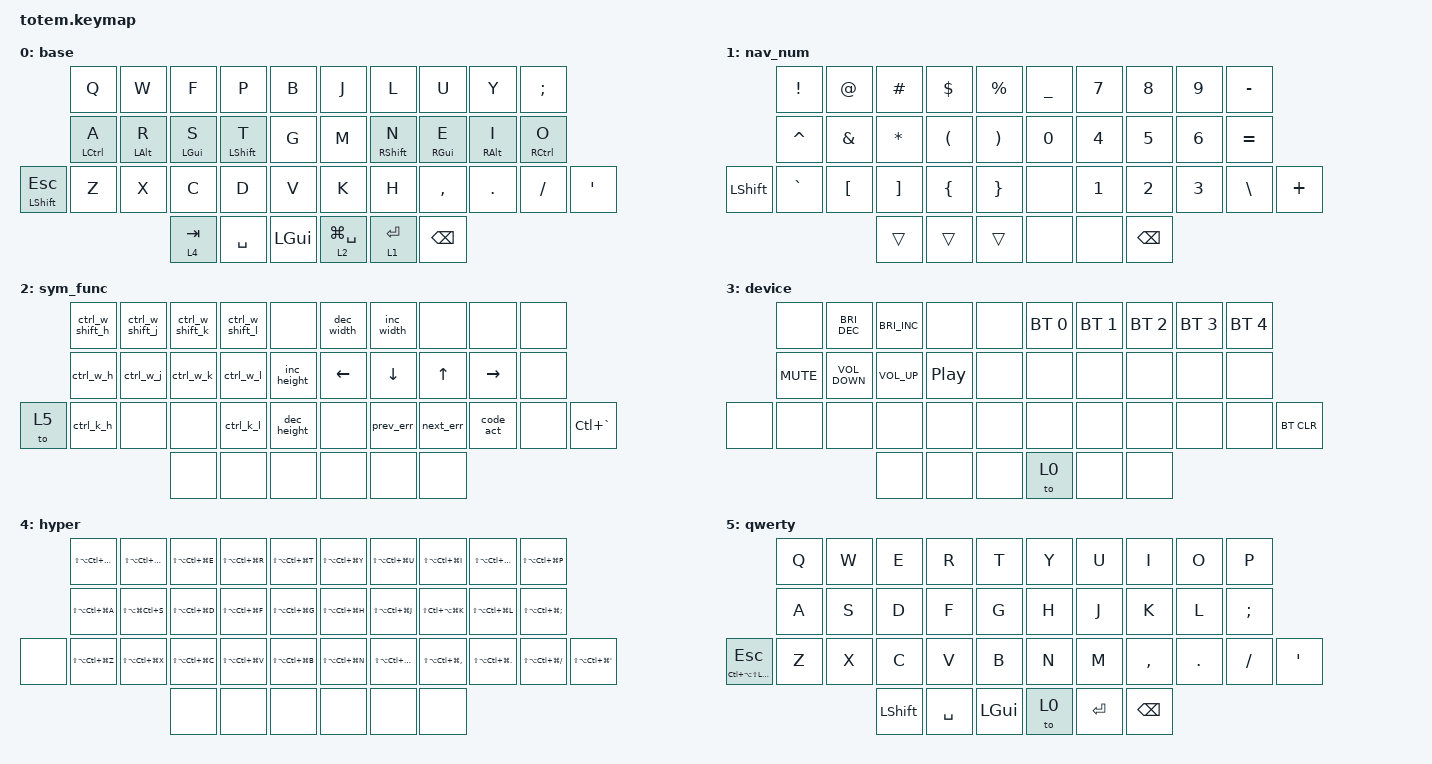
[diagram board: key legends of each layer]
//
//                                                        ▀▀▀▀▀     ▀▀▀▀▀          ▀▀█▀▀
//                                                        ▄▀▀▀▄  ▄  ▄▀▀▀▄  ▄  ▄▀▀▀▄  █  ▄▀▀▀▄
//                                                        █   █  █  █   █  █  █   █  █  █   █
//                                                         ▀▀▀   █   ▀▀▀   █   ▀▀▀   ▀   ▀▀▀
//                                                               █      ▄▄▄█▄▄▄    █   █  
//                                                               ▀      █  █  █     █▄█
//                                                             ▀▀▀▀▀    █  █  █      ▀
//                                                                      ▀  ▀  ▀
//
// ▄▄▄▄▄▄▄▄▄▄▄▄▄▄▄▄▄▄▄▄▄▄▄▄▄▄▄▄▄▄▄▄▄▄▄▄▄▄▄▄▄▄▄▄▄▄▄▄▄▄▄▄▄▄▄▄▄▄▄▄▄▄▄▄▄▄▄▄▄▄▄▄▄▄▄▄▄▄▄▄▄▄▄▄▄▄▄▄▄▄▄▄▄▄▄▄▄▄▄▄▄▄▄▄▄▄▄▄▄▄▄▄▄▄▄▄▄▄▄▄▄▄▄▄▄▄▄▄▄▄▄▄▄▄▄▄▄▄▄▄▄▄▄▄▄▄▄▄▄

#include <behaviors.dtsi>
#include <dt-bindings/zmk/bt.h>
#include <dt-bindings/zmk/keys.h>

/ {
    behaviors {
        HMShift_L: HMShift_L {
            compatible = "zmk,behavior-hold-tap";
            label = "HMSHIFT_L";
            bindings = <&kp>, <&kp>;

            #binding-cells = <2>;
            tapping-term-ms = <150>;
            flavor = "tap-preferred";
            hold-trigger-on-release;
            hold-trigger-key-positions = <5 6 7 8 9 15 16 17 18 19 26 27 28 29 30 31 35 36 37>;
            hold-while-undecided;
        };

        HMShift_R: HMShift_R {
            compatible = "zmk,behavior-hold-tap";
            label = "HMSHIFT_R";
            bindings = <&kp>, <&kp>;

            #binding-cells = <2>;
            tapping-term-ms = <150>;
            flavor = "tap-preferred";
            hold-trigger-on-release;
            hold-while-undecided;
            hold-trigger-key-positions = <0 1 2 3 4 10 11 12 13 14 20 21 22 23 24 25 32 33 34>;
        };

        HMR: HMR {
            compatible = "zmk,behavior-hold-tap";
            label = "HMR";
            bindings = <&kp>, <&kp>;

            #binding-cells = <2>;
            tapping-term-ms = <175>;
            flavor = "tap-preferred";
            hold-trigger-on-release;
            hold-while-undecided;
            hold-trigger-key-positions = <0 1 2 3 4 10 11 12 13 14 20 21 22 23 24 25 32 33 34>;
        };

        HML: HML {
            compatible = "zmk,behavior-hold-tap";
            label = "HML";
            bindings = <&kp>, <&kp>;

            #binding-cells = <2>;
            tapping-term-ms = <175>;
            flavor = "tap-preferred";
            hold-trigger-on-release;
            hold-trigger-key-positions = <5 6 7 8 9 15 16 17 18 19 26 27 28 29 30 31 35 36 37>;
            hold-while-undecided;
        };
    };

    macros {
        ctrl_w_h: ctrl_w {
            compatible = "zmk,behavior-macro";
            #binding-cells = <0>;
            bindings = <&kp LC(W) &kp H>;
            label = "CTRL_W_H";
        };

        ctrl_w_j: ctrl_w_j {
            compatible = "zmk,behavior-macro";
            #binding-cells = <0>;
            bindings = <&kp LC(W) &kp J>;
            label = "CTRL_W_J";
        };

        ctrl_w_k: ctrl_w_k {
            compatible = "zmk,behavior-macro";
            #binding-cells = <0>;
            bindings = <&kp LC(W) &kp K>;
            label = "CTRL_W_K";
        };

        ctrl_w_l: ctrl_w_l {
            compatible = "zmk,behavior-macro";
            #binding-cells = <0>;
            bindings = <&kp LC(W) &kp L>;
            label = "CTRL_W_L";
        };

        ctrl_w_shift_h: ctrl_w_shift_h {
            compatible = "zmk,behavior-macro";
            #binding-cells = <0>;
            bindings = <&kp LC(W) &kp LS(H)>;
            label = "ctrl_w_shift_h";
        };

        ctrl_w_shift_j: ctrl_w_shift_j {
            compatible = "zmk,behavior-macro";
            #binding-cells = <0>;
            bindings = <&kp LC(W) &kp LS(J)>;
            label = "ctrl_w_shift_j";
        };

        ctrl_w_shift_k: ctrl_w_shift_k {
            compatible = "zmk,behavior-macro";
            #binding-cells = <0>;
            bindings = <&kp LC(W) &kp LS(K)>;
            label = "ctrl_w_shift_k";
        };

        ctrl_w_shift_l: ctrl_w_shift_l {
            compatible = "zmk,behavior-macro";
            #binding-cells = <0>;
            bindings = <&kp LC(W) &kp LS(L)>;
            label = "ctrl_w_shift_l";
        };

        prev_err: prev_err {
            compatible = "zmk,behavior-macro";
            #binding-cells = <0>;
            bindings = <&kp G &kp LEFT_BRACKET>;
            label = "PREV_ERR";
        };

        next_err: next_err {
            compatible = "zmk,behavior-macro";
            #binding-cells = <0>;
            bindings = <&kp G &kp RIGHT_BRACKET>;
            label = "NEXT_ERR";
        };

        code_act: code_act {
            compatible = "zmk,behavior-macro";
            #binding-cells = <0>;
            bindings = <&kp G &kp PERIOD>;
            label = "CODE_ACT";
        };

        inc_height: inc_height {
            compatible = "zmk,behavior-macro";
            #binding-cells = <0>;
            bindings = <&kp LC(W) &kp PLUS>;
            label = "INC_HEIGHT";
        };

        dec_height: dec_height {
            compatible = "zmk,behavior-macro";
            #binding-cells = <0>;
            bindings = <&kp LC(W) &kp MINUS>;
            label = "DEC_HEIGHT";
        };

        inc_width: inc_width {
            compatible = "zmk,behavior-macro";
            #binding-cells = <0>;
            bindings = <&kp LC(W) &kp GREATER_THAN>;
            label = "INC_WIDTH";
        };

        dec_width: dec_width {
            compatible = "zmk,behavior-macro";
            #binding-cells = <0>;
            bindings = <&kp LC(W) &kp LESS_THAN>;
            label = "DEC_WIDTH";
        };

        ctrl_k_h: ctrl_k_h {
            compatible = "zmk,behavior-macro";
            #binding-cells = <0>;
            bindings = <&kp LC(K) &kp H>;
            label = "CTRL_K_H";
        };

        ctrl_k_l: ctrl_k_l {
            compatible = "zmk,behavior-macro";
            #binding-cells = <0>;
            bindings = <&kp LC(K) &kp L>;
            label = "CTRL_K_L";
        };
    };

    combos {
        compatible = "zmk,combos";

        device_layer {
            bindings = <&tog 3>;
            key-positions = <35 36>;
        };
    };

    keymap {
        compatible = "zmk,keymap";

        base {
            bindings = <
                    &kp Q         &kp W            &kp F            &kp P                    &kp B           &kp J            &kp L                     &kp U             &kp Y             &kp SEMICOLON
                    &HML LCTRL A  &HML LEFT_ALT R  &HML LEFT_GUI S  &HMShift_L LEFT_SHIFT T  &kp G           &kp M            &HMShift_R RIGHT_SHIFT N  &HMR RIGHT_GUI E  &HMR RIGHT_ALT I  &HMR RCTRL O
&mt LEFT_SHIFT ESC  &kp Z         &kp X            &kp C            &kp D                    &kp V           &kp K            &kp H                     &kp COMMA         &kp DOT           &kp FSLH       &kp SINGLE_QUOTE
                                                   &lt 4 TAB        &kp SPACE                &kp LEFT_GUI    &lt 2 LG(SPACE)  &lt 1 ENTER               &kp BACKSPACE
            >;
        };

        nav_num {
            bindings = <
                &kp EXCLAMATION  &kp AT            &kp HASH           &kp DOLLAR            &kp PERCENT              &kp UNDERSCORE  &kp N7  &kp N8         &kp N9  &kp MINUS
                &kp CARET        &kp AMPERSAND     &kp ASTERISK       &kp LEFT_PARENTHESIS  &kp RIGHT_PARENTHESIS    &kp N0          &kp N4  &kp N5         &kp N6  &kp EQUAL
&kp LEFT_SHIFT  &kp GRAVE        &kp LEFT_BRACKET  &kp RIGHT_BRACKET  &kp LEFT_BRACE        &kp RIGHT_BRACE          &none           &kp N1  &kp N2         &kp N3  &kp BACKSLASH  &kp PLUS
                                                   &trans             &trans                &trans                   &none           &none   &kp BACKSPACE
            >;
        };

        sym_func {
            bindings = <
       &ctrl_w_shift_h  &ctrl_w_shift_j  &ctrl_w_shift_k  &ctrl_w_shift_l  &none          &dec_width      &inc_width      &none         &none            &none
       &ctrl_w_h        &ctrl_w_j        &ctrl_w_k        &ctrl_w_l        &inc_height    &kp LEFT_ARROW  &kp DOWN_ARROW  &kp UP_ARROW  &kp RIGHT_ARROW  &none
&to 5  &ctrl_k_h        &none            &none            &ctrl_k_l        &dec_height    &none           &prev_err       &next_err     &code_act        &none  &kp LC(GRAVE)
                                         &none            &none            &none          &none           &none           &none
            >;
        };

        device {
            bindings = <
       &none       &kp C_BRIGHTNESS_DEC  &kp C_BRIGHTNESS_INC  &none             &none    &bt BT_SEL 0  &bt BT_SEL 1  &bt BT_SEL 2  &bt BT_SEL 3  &bt BT_SEL 4
       &kp K_MUTE  &kp C_VOLUME_DOWN     &kp C_VOLUME_UP       &kp C_PLAY_PAUSE  &none    &none         &none         &none         &none         &none
&none  &none       &none                 &none                 &none             &none    &none         &none         &none         &none         &none         &bt BT_CLR
                                         &none                 &none             &none    &to 0         &none         &none
            >;
        };

        hyper {
            bindings = <
       &kp LS(LA(LC(LG(Q))))  &kp LS(LA(LC(LG(W))))  &kp LS(LA(LC(LG(E))))  &kp LS(LA(LC(LG(R))))  &kp LS(LA(LC(LG(T))))    &kp LS(LA(LC(LG(Y))))  &kp LS(LA(LC(LG(U))))  &kp LS(LA(LC(LG(I))))      &kp LS(LA(LC(LG(O))))    &kp LS(LA(LC(LG(P))))
       &kp LS(LA(LC(LG(A))))  &kp LS(LA(LG(LC(S))))  &kp LS(LA(LC(LG(D))))  &kp LS(LA(LC(LG(F))))  &kp LS(LA(LC(LG(G))))    &kp LS(LA(LC(LG(H))))  &kp LS(LA(LC(LG(J))))  &kp LS(LC(LA(LG(K))))      &kp LS(LA(LC(LG(L))))    &kp LS(LA(LC(LG(SEMI))))
&none  &kp LS(LA(LC(LG(Z))))  &kp LS(LA(LC(LG(X))))  &kp LS(LA(LC(LG(C))))  &kp LS(LA(LC(LG(V))))  &kp LS(LA(LC(LG(B))))    &kp LS(LA(LC(LG(N))))  &kp LS(LA(LC(LG(M))))  &kp LS(LA(LC(LG(COMMA))))  &kp LS(LA(LC(LG(DOT))))  &kp LS(LA(LC(LG(FSLH))))  &kp LS(LA(LC(LG(SINGLE_QUOTE))))
                                                     &none                  &none                  &none                    &none                  &none                  &none
            >;
        };

        qwerty {
            bindings = <
                              &kp Q  &kp W  &kp E           &kp R      &kp T       &kp Y  &kp U      &kp I          &kp O    &kp P
                              &kp A  &kp S  &kp D           &kp F      &kp G       &kp H  &kp J      &kp K          &kp L    &kp SEMI
&mt LC(LA(LS(LEFT_GUI))) ESC  &kp Z  &kp X  &kp C           &kp V      &kp B       &kp N  &kp M      &kp COMMA      &kp DOT  &kp FSLH  &kp SINGLE_QUOTE
                                            &kp LEFT_SHIFT  &kp SPACE  &kp LGUI    &to 0  &kp ENTER  &kp BACKSPACE
            >;
        };
    };

    conditional_layers {
        compatible = "zmk,conditional-layers";

        device {
            if-layers = <1 2>;
            then-layer = <3>;
        };
    };
};
